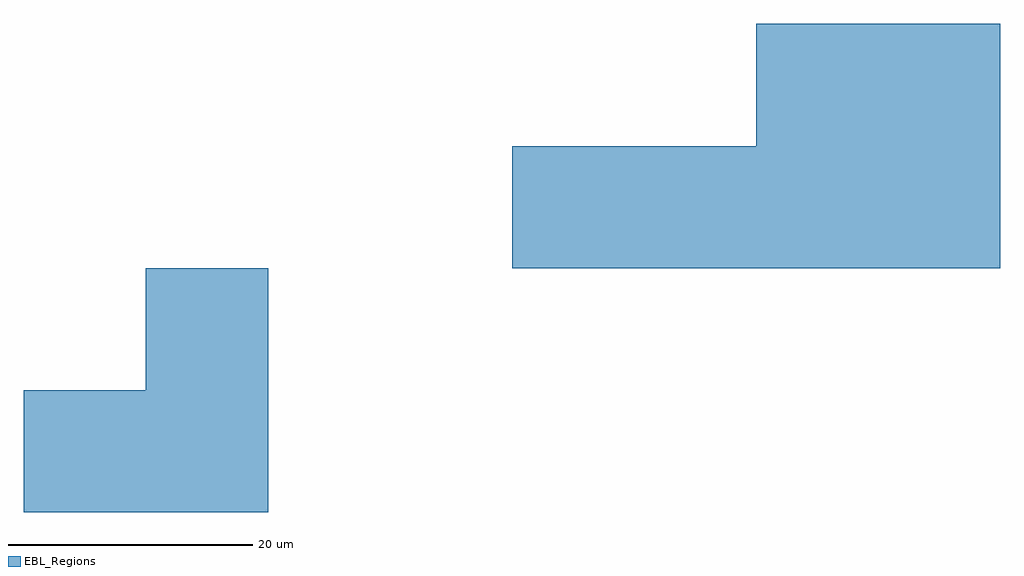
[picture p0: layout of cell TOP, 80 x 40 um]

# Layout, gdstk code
import gdstk
lib = gdstk.Library(unit=1e-6, precision=1e-09)
def R(c, l, rs):  # rectangles x0, y0, x1, y1
    for r in rs: c.add(gdstk.rectangle(r[:2], r[2:], *l))
def A(c, l, x, y, w, h, nx, ny, dx, dy):  # array of equal rectangles
    R(c, l, [(x+i*dx, y+j*dy, x+i*dx+w, y+j*dy+h) for i in range(nx) for j in range(ny)])
EBL_Regions = (8100, 0)

top = lib.new_cell('TOP')
A(top, EBL_Regions, 0, 0, 10, 10, 4, 1, 10, 0)
R(top, EBL_Regions, [(-40,-20,-30,-10), (-30,-20,-20,-10), (-30,-10,-20,0), (20,10,30,20), (30,10,40,20)])

lib.write_gds('TOP.gds')
